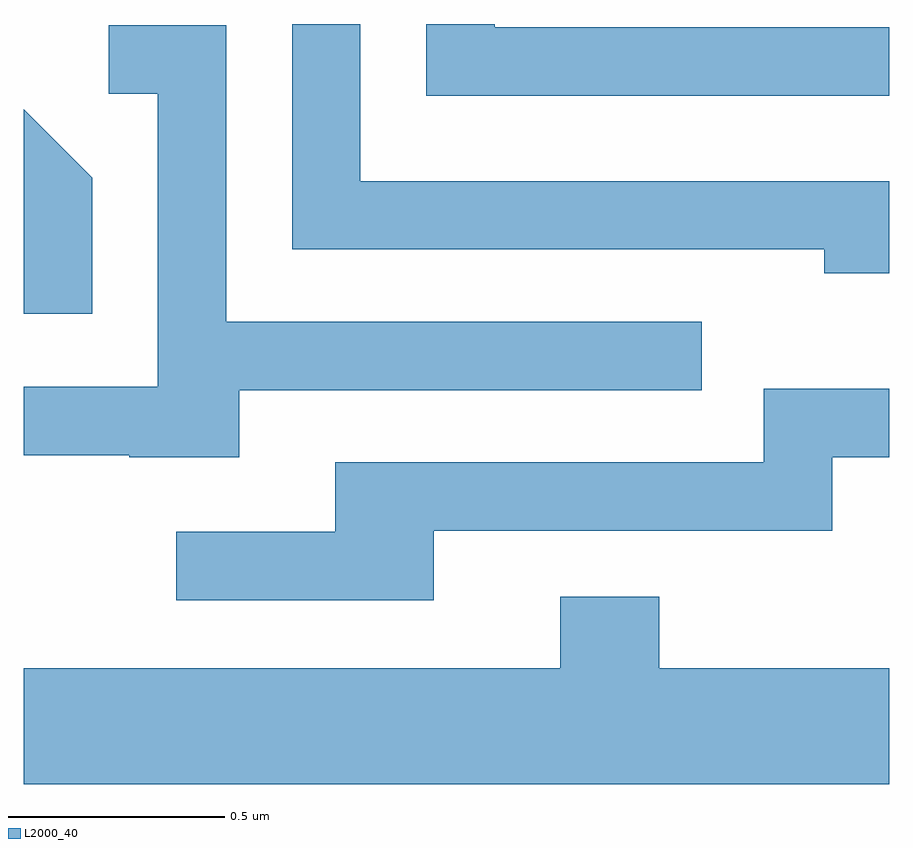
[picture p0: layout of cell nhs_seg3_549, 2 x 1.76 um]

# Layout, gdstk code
import gdstk
lib = gdstk.Library(unit=1e-6, precision=1e-09)
def P(c, l, *ps):  # polygons
    for p in ps: c.add(gdstk.Polygon(p, *l))
L2000_40 = (2000, 40)

nhs_seg3_549 = lib.new_cell('nhs_seg3_549')
P(nhs_seg3_549, L2000_40, [(191.611,1118.529),(190.389,1118.529),(190.389,1118.892),(190.231,1118.892),(190.231,1118.371),(191.461,1118.371),(191.461,1118.316),(191.611,1118.316)],
  [(191.611,1118.884),(190.699,1118.884),(190.699,1118.892),(190.541,1118.892),(190.541,1118.726),(191.611,1118.726)],
  [(190.109,1118.046),(191.178,1118.046),(191.178,1118.204),(190.079,1118.204),(190.079,1118.889),(189.808,1118.889),(189.808,1118.731),(189.921,1118.731),(189.921,1118.054),(189.611,1118.054),(189.611,1117.896),(189.855,1117.896),(189.855,1117.891),(190.109,1117.891)],
  [(189.769,1118.537),(189.611,1118.695),(189.611,1118.223),(189.769,1118.223)],
  [(190.559,1117.721),(191.479,1117.721),(191.479,1117.891),(191.611,1117.891),(191.611,1118.049),(191.321,1118.049),(191.321,1117.879),(190.331,1117.879),(190.331,1117.719),(189.963,1117.719),(189.963,1117.561),(190.559,1117.561)],
  [(191.611,1117.404),(191.079,1117.404),(191.079,1117.569),(190.851,1117.569),(190.851,1117.404),(189.611,1117.404),(189.611,1117.136),(191.611,1117.136)])

lib.write_gds('nhs_seg3_549.gds')
